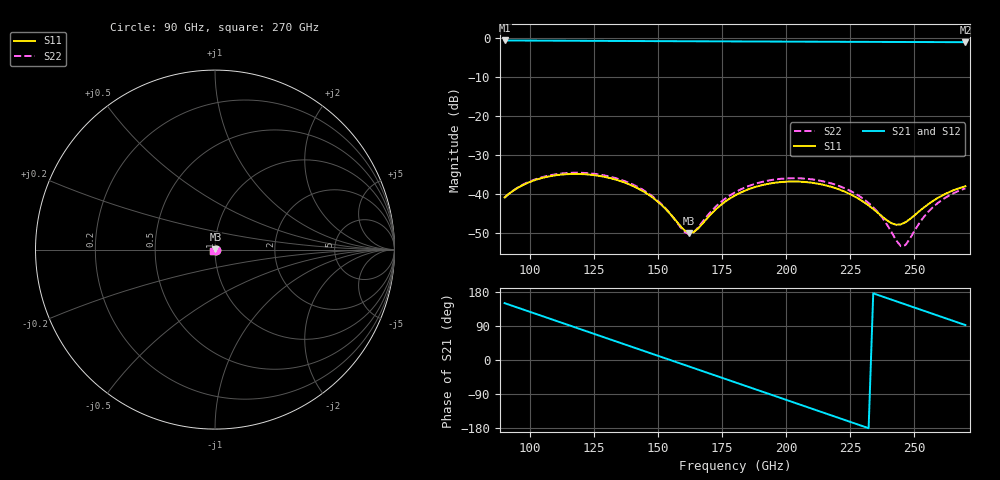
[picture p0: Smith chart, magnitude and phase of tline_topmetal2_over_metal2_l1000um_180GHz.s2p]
#  GHZ S DB R 50
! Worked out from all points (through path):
!   101 points, 90 GHz to 270 GHz, reference 50 ohm
!   highest |S21| = -0.68 dB at 90 GHz (marker M1); lowest = -1.1 dB at 270 GHz (marker M2)
!   group delay of S21, straight-line fit = 6.45 ps
!   lowest |S11| = -50.1 dB at 162 GHz (marker M3), VSWR 1.01, Z = 50.2 + j0.197 ohm
!   |S11| at or under -10 dB: start of sweep to end of sweep
!   |S22| runs from -53.5 to -34.6 dB; largest |S21 - S12| = 1.1e-14
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90  -40.96 -33.8  -0.68 150.0  -0.68 150.0  -41.04 -34.4
97.2  -37.77 -59.5  -0.70 133.3  -0.70 133.3  -37.67 -59.7
106.2  -35.73 -87.5  -0.73 112.5  -0.73 112.5  -35.51 -87.3
120.6  -34.99 -130.3  -0.77 79.1  -0.77 79.1  -34.66 -129.2
127.8  -35.53 -151.7  -0.79 62.3  -0.79 62.3  -35.18 -150.2
136.8  -37.13 -179.5  -0.82 41.5  -0.82 41.5  -36.76 -177.3
151.2  -42.83 127.5  -0.86 8.1  -0.86 8.1  -42.63 131.2
162  -50.07 38.7  -0.89 -17.0  -0.89 -17.0  -50.43 37.8
165.6  -48.94 -6.2  -0.89 -25.3  -0.89 -25.3  -48.70 -9.0
171  -45.00 -48.5  -0.91 -37.9  -0.91 -37.9  -44.31 -49.0
180  -40.46 -88.3  -0.93 -58.8  -0.93 -58.8  -39.66 -86.3
194.4  -37.31 -135.6  -0.96 -92.2  -0.96 -92.2  -36.48 -131.3
201.6  -36.89 -157.6  -0.98 -108.9  -0.98 -108.9  -36.04 -152.1
210.6  -37.25 174.8  -1.00 -129.8  -1.00 -129.8  -36.38 -177.9
219.6  -38.67 145.9  -1.02 -150.7  -1.02 -150.7  -37.78 155.9
228.6  -41.43 112.7  -1.04 -171.6  -1.04 -171.6  -40.64 127.9
235.8  -44.92 76.2  -1.05 171.7  -1.05 171.7  -44.76 100.4
241.2  -47.61 33.3  -1.07 159.1  -1.07 159.1  -49.94 66.2
244.8  -47.89 -3.5  -1.07 150.7  -1.07 150.7  -53.48 17.5
246.6  -47.34 -21.1  -1.08 146.6  -1.08 146.6  -53.21 -14.6
257.4  -41.84 -88.8  -1.10 121.4  -1.10 121.4  -43.41 -98.1
270  -38.11 -134.1  -1.12 92.1  -1.12 92.1  -38.65 -139.7
